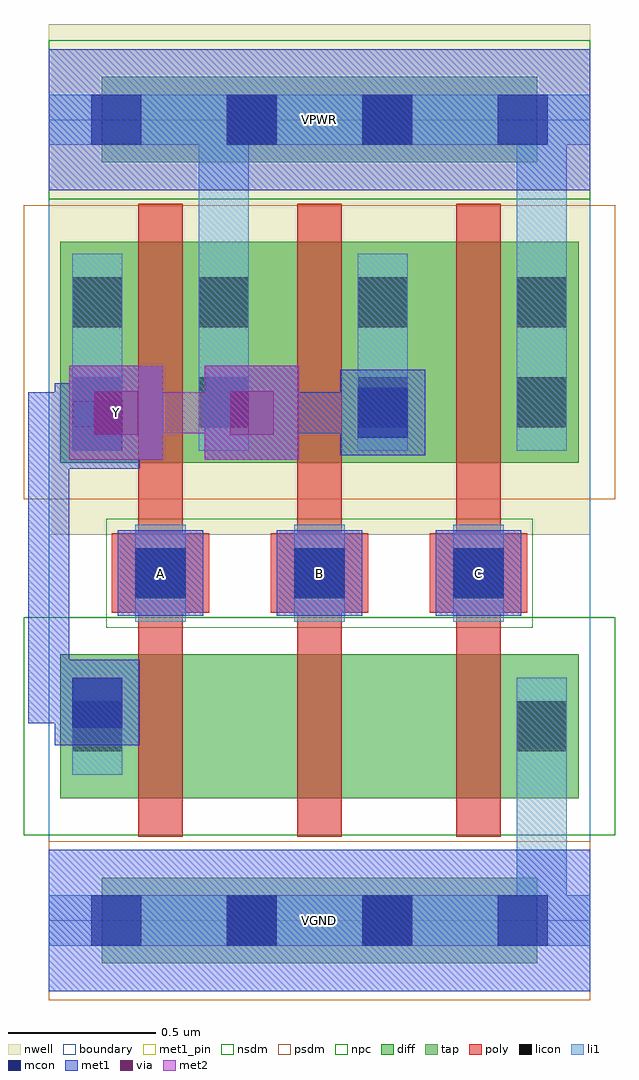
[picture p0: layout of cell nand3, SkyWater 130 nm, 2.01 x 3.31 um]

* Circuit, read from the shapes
.subckt nand3 A B C VGND VPWR Y
XM1 n1 A Y VGND sky130_fd_pr__nfet_01v8 w=0.49 l=0.15
XM2 n2 B n1 VGND sky130_fd_pr__nfet_01v8 w=0.49 l=0.15
XM3 VGND C n2 VGND sky130_fd_pr__nfet_01v8 w=0.49 l=0.15
XM4 VPWR A Y VPWR sky130_fd_pr__pfet_01v8 w=0.75 l=0.15
XM5 Y B VPWR VPWR sky130_fd_pr__pfet_01v8 w=0.75 l=0.15
XM6 VPWR C Y VPWR sky130_fd_pr__pfet_01v8 w=0.75 l=0.15
.ends

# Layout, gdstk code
import gdstk
lib = gdstk.Library(unit=1e-6, precision=1e-09)
def R(c, l, rs):  # rectangles x0, y0, x1, y1
    for r in rs: c.add(gdstk.rectangle(r[:2], r[2:], *l))
def A(c, l, x, y, w, h, nx, ny, dx, dy):  # array of equal rectangles
    R(c, l, [(x+i*dx, y+j*dy, x+i*dx+w, y+j*dy+h) for i in range(nx) for j in range(ny)])
nwell = (64, 20)
diff = (65, 20)
tap = (65, 44)
poly = (66, 20)
licon = (66, 44)
li1 = (67, 20)
mcon = (67, 44)
met1_pin = (68, 16)
met1 = (68, 20)
via = (68, 44)
met2 = (69, 20)
nsdm = (93, 44)
psdm = (94, 20)
npc = (95, 20)
boundary = (235, 4)

nand3 = lib.new_cell('nand3')
R(nand3, nwell, [(0,1.31,1.84,3.045)])
R(nand3, diff, [(0.04,0.415,1.8,0.905), (0.04,1.555,1.8,2.305)])
R(nand3, tap, [(0.18,-0.145,1.66,0.145), (0.18,2.575,1.66,2.865)])
A(nand3, poly, 0.305, 0.285, 0.15, 2.15, 3, 1, 0.54, 0)
A(nand3, poly, 0.215, 1.045, 0.33, 0.27, 3, 1, 0.54, 0)
A(nand3, licon, 0.295, 1.095, 0.17, 0.17, 3, 1, 0.54, 0)
A(nand3, licon, 0.51, 1.675, 0.17, 0.17, 3, 2, 0.54, 0.34)
R(nand3, licon, [(0.605,-0.085,0.775,0.085), (1.065,-0.085,1.235,0.085), (0.08,0.575,0.25,0.745), (1.59,0.575,1.76,0.745), (0.08,1.675,0.25,1.845), (0.08,2.015,0.25,2.185), (0.605,2.635,0.775,2.805), (1.065,2.635,1.235,2.805)])
A(nand3, li1, 0.295, 1.015, 0.17, 0.33, 3, 1, 0.54, 0)
A(nand3, li1, 0.51, 1.595, 0.17, 0.67, 3, 1, 0.54, 0)
R(nand3, li1, [(0,-0.085,1.84,0.085), (1.59,-0.085,1.76,0.825), (0.08,0.495,0.25,0.825), (1.59,0.495,1.76,0.825), (0.08,1.595,0.25,2.265), (0.51,1.595,0.68,2.805), (1.59,1.595,1.76,2.805), (0,2.635,1.84,2.805)])
A(nand3, mcon, 0.145, -0.085, 0.17, 0.17, 4, 2, 0.46, 2.72)
A(nand3, mcon, 0.295, 1.095, 0.17, 0.17, 3, 1, 0.54, 0)
R(nand3, mcon, [(0.08,0.655,0.25,0.825), (0.08,1.595,0.25,1.765), (1.05,1.64,1.22,1.81)])
A(nand3, met1_pin, 0.235, 1.035, 0.29, 0.29, 3, 1, 0.54, 0)
R(nand3, met1_pin, [(0,-0.24,1.84,0.24), (0.07,1.565,0.39,1.885), (0,2.48,1.84,2.96)])
A(nand3, met1, 0.235, 1.035, 0.29, 0.29, 3, 1, 0.54, 0)
R(nand3, met1, [(0,-0.24,1.84,0.24), (0.02,0.595,0.31,0.885), (-0.07,0.67,0.235,0.81), (-0.07,0.67,0.07,0.99), (-0.07,0.85,0.07,1.565), (-0.07,1.425,0.07,1.75), (-0.07,1.425,0.07,1.795), (0.02,1.535,0.31,1.825), (0.07,1.565,0.39,1.885), (0.53,1.565,0.85,1.885), (0.99,1.58,1.28,1.87), (-0.07,1.61,0.235,1.75), (-0.07,1.655,0.3,1.795), (0.62,1.655,1.105,1.795), (0.965,1.655,1.205,1.795), (0,2.48,1.84,2.96)])
R(nand3, via, [(0.155,1.65,0.305,1.8), (0.615,1.65,0.765,1.8)])
R(nand3, met2, [(0.07,1.565,0.39,1.885), (0.53,1.565,0.85,1.885), (0.16,1.655,0.76,1.795)])
R(nand3, nsdm, [(-0.085,0.29,1.925,1.03), (0,2.45,1.84,2.99)])
R(nand3, psdm, [(0,-0.27,1.84,0.27), (-0.085,1.43,1.925,2.43)])
R(nand3, npc, [(0.195,0.995,1.645,1.365)])
R(nand3, boundary, [(0,0,1.84,2.72)])
nand3.add(gdstk.Label('A', (0.38,1.18), layer=68, texttype=5))
nand3.add(gdstk.Label('B', (0.92,1.18), layer=68, texttype=5))
nand3.add(gdstk.Label('C', (1.46,1.18), layer=68, texttype=5))
nand3.add(gdstk.Label('Y', (0.23,1.725), layer=68, texttype=5))
nand3.add(gdstk.Label('VPWR', (0.92,2.72), layer=68, texttype=5))
nand3.add(gdstk.Label('VGND', (0.92,0), layer=68, texttype=5))
nand3.add(gdstk.Label('A', (0.38,1.18), layer=68, texttype=16))
nand3.add(gdstk.Label('B', (0.92,1.18), layer=68, texttype=16))
nand3.add(gdstk.Label('C', (1.46,1.18), layer=68, texttype=16))
nand3.add(gdstk.Label('Y', (0.23,1.725), layer=68, texttype=16))
nand3.add(gdstk.Label('VPWR', (0.92,2.72), layer=68, texttype=16))
nand3.add(gdstk.Label('VGND', (0.92,0), layer=68, texttype=16))

lib.write_gds('nand3.gds')
